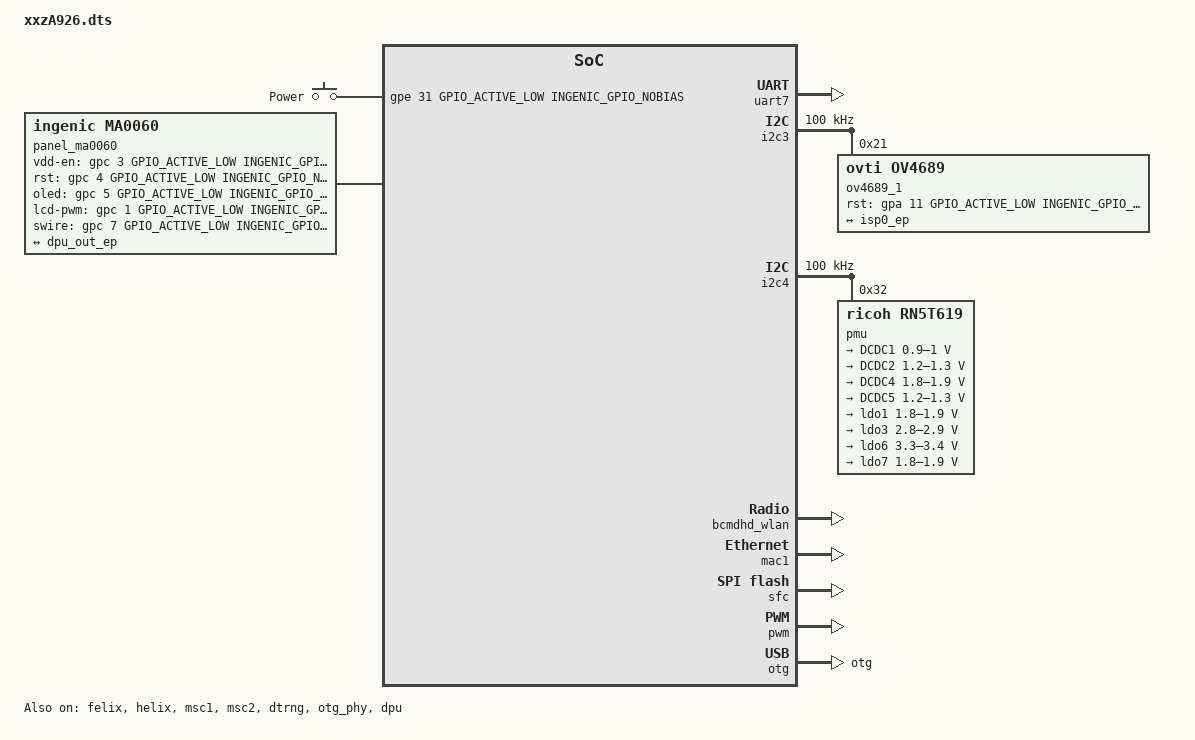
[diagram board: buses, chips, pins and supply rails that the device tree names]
/dts-v1/;

#include <dt-bindings/input/input.h>
#include "x2000-v12.dtsi"
#include <dt-bindings/interrupt-controller/irq.h>

/ {
	compatible = "ingenic,xxzA926", "ingenic,x2000-v12";
};

&uart0 {
	status = "disable";
};

&uart1 {
	status = "disable";
};

&uart2 {
	status = "disable";
};

&uart3 {
	status = "disable";
};

&uart4 {
	status = "disable";
};

&uart5 {
	status = "disable";
};

&uart6 {
	status = "disable";
};

&uart7 {
	status = "okay";
	pinctrl-names = "default";
	pinctrl-0 = <&uart7_pc>;
};

&cpufreq {
	status = "okay";
	operating-points = <
		/*KHZ uV */
		1200000	900000
		750000	900000
		600000	900000
		500000	900000
		400000	900000
		375000	900000
		300000	900000
		200000	900000
			>;

};
&as_be_baic {
	ingenic,baic23-interface-vol = <BAIC23_INTERFACE_VOL_1V8>;
};
&i2c0 {
	status = "disable";
	clock-frequency = <400000>;
	pinctrl-names = "default";
	pinctrl-0 = <&i2c0_pc>;

	focaltech@0x38{
		compatible = "focaltech,fts"; /* do not modify */
		reg = <0x38>; /* do not modify */
		interrupt-parent = <&gpc>; /* INT pin */
		interrupts = <9>;
		focaltech,reset-gpio = <&gpc 8 GPIO_ACTIVE_LOW INGENIC_GPIO_NOBIAS>; /* RST pin */
		focaltech,irq-gpio = <&gpc 9 IRQ_TYPE_EDGE_FALLING INGENIC_GPIO_NOBIAS>; /* INT pin */
		focaltech,max-touch-number = <5>;
		focaltech,display-coords = <0 0 1080 1920>;	/* resolution */

		/* key settings */
		focaltech,have-key;
		focaltech,key-number = <3>;
		focaltech,keys = <139 172 158>; /* key codes*/
		focaltech,key-x-coords = <200 600 800>; /* keys x coords */
		focaltech,key-y-coords = <2000 2000 2000>; /* keys y coords */

	};

};

&i2c1 {
	status = "disable";
	
};

&i2c3 {
	status = "okay";
	clock-frequency = <100000>;
	timeout = <1000>;
	pinctrl-names = "default";
	pinctrl-0 = <&i2c3_pa>;

	/*RD_X2000_HALLEY5_CAMERA_V2.0*/
	ov4689_1:ov4689@0x21 {
		status = "ok";
		compatible = "ovti,ov4689";
		reg = <0x21>;
		ingenic,iovcc_1v8;	/*if dvp voltage is 1.8v.?*/
		pinctrl-names = "default";
		pinctrl-0 = <&cim_vic_mclk_pe_24M>;

		ingenic,rst-gpio = <&gpa 11 GPIO_ACTIVE_LOW INGENIC_GPIO_NOBIAS>;

		port {
			ov4689_ep1:endpoint {
				remote-endpoint = <&isp0_ep>;
			};
		};
	};
};

&i2c4 {
	status = "okay";
	clock-frequency = <100000>;
	timeout = <1000>;
	pinctrl-names = "default";
	pinctrl-0 = <&i2c4_pc>;

	pmu: ricoh619@0x32{
		status = "okay";
		compatible = "ricoh,rn5t619";
		reg = <0x32>;
        ingenic,sdio-irq = <&gpc 27 IRQ_TYPE_EDGE_FALLING INGENIC_GPIO_NOBIAS>;

		regulators {
			DCDC1: dcdc1 {
				regulator-compatible = "DCDC1";
				regulator-name = "DC1_0v9";
				regulator-min-microvolt = <900000>;
				regulator-max-microvolt = <1000000>;
				regulator-boot-on;
                regulator-always-on;
			};
			DCDC2: dcdc2 {
				regulator-compatible = "DCDC2";
				regulator-name = "DC2_1v2";
				regulator-min-microvolt = <1200000>;
				regulator-max-microvolt = <1300000>;
				regulator-boot-on;
				regulator-always-on;
			};
			DCDC4: dcdc4 {
				regulator-compatible = "DCDC4";
				regulator-name = "DC4_1v8";
				regulator-min-microvolt = <1800000>;
				regulator-max-microvolt = <1900000>;
				regulator-boot-on;
				regulator-always-on;
			};
			DCDC5: dcdc5 {
				regulator-compatible = "DCDC5";
				regulator-name = "DC5_1v2";
				regulator-min-microvolt = <1200000>;
				regulator-max-microvolt = <1300000>;
				regulator-boot-on;
				regulator-always-on;
			};
			ldo1: ldo1 {
				regulator-compatible = "LDO1";
				regulator-name = "ldo1_1v8";
				regulator-min-microvolt = <1800000>;
				regulator-max-microvolt = <1900000>;
				regulator-boot-on;
				regulator-always-on;
			};
			ldo3: ldo3 {
				regulator-compatible = "LDO3";
				regulator-name = "ldo3_2v8";
				regulator-min-microvolt = <2800000>;
				regulator-max-microvolt = <2900000>;
				regulator-boot-on;
				regulator-always-on;
			};
			ldo6: ldo6 {
				regulator-compatible = "LDO6";
				regulator-name = "ldo6_3v3";
				regulator-min-microvolt = <3300000>;
				regulator-max-microvolt = <3400000>;
				regulator-boot-on;
				regulator-always-on;
			};
			ldo7: ldo7 {
				regulator-compatible = "LDO7";
				regulator-name = "ldo7_1v8";
				regulator-min-microvolt = <1800000>;
				regulator-max-microvolt = <1900000>;
				regulator-always-on;
			};
	    };
    };
};



&isp0_ep {
	remote-endpoint = <&ov4689_ep1>;
	data-lanes = <2>;
	clk-lanes = <1>;
};

&felix {
	status = "okay";
};

&helix {
	status = "okay";
};

&pdma {
	status = "okay";
};

&msc0 {
	status = "disable";
	/*mmc-hs200-1_8v;*/
	cap-mmc-highspeed;
	non-removable;
	max-frequency = <50000000>;
	bus-width = <4>;
	non-removable;
	voltage-ranges = <1800 3300>;

	/* special property */
	ingenic,wp-gpios = <0>;
	ingneic,cd-gpios = <0>;
	ingenic,rst-gpios = <0>;
};

&msc1 {
	status = "okay";
	pinctrl-names ="default","enable", "disable";
	pinctrl-0 = <&msc1_4bit>;
	pinctrl-1 = <&rtc32k_enable>;
	pinctrl-2 = <&rtc32k_disable>;

	max-frequency = <50000000>;
	bus-width = <4>;
	voltage-ranges = <1800 3300>;
	/*non-removable;*/

	ingenic,sdio_clk = <1>;
	keep-power-in-suspend;

	/* special property */
	ingenic,wp-gpios = <0>;
	ingneic,cd-gpios = <0>;
	ingenic,rst-gpios = <0>;
	ingenic,removal-manual; /*removal-dontcare, removal-nonremovable, removal-removable, removal-manual*/

	bcmdhd_wlan: bcmdhd_wlan {
		 compatible = "android,bcmdhd_wlan";
		 ingenic,sdio-irq = <&gpa 0 IRQ_TYPE_LEVEL_HIGH INGENIC_GPIO_NOBIAS>;
		 ingenic,sdio-reset = <&gpd 1 GPIO_ACTIVE_LOW INGENIC_GPIO_NOBIAS>;
	};
};

&msc2 {
	status = "okay";
	pinctrl-names ="default";
	pinctrl-0 = <&msc2_4bit>;
	/*mmc-hs200-1_8v;*/
	cap-mmc-highspeed;
	non-removable;
	max-frequency = <50000000>;
	bus-width = <4>;
	non-removable;
	voltage-ranges = <1800 3300>;

	/* special property */
	ingenic,wp-gpios = <0>;
	ingneic,cd-gpios = <0>;
	ingenic,rst-gpios = <0>;
};


&mac1 {
	pinctrl-names = "default", "reset";
	pinctrl-0 = <&mac1_rgmii_p0_normal>, <&mac1_rgmii_p1_normal>;
	pinctrl-1 = <&mac1_rgmii_p0_rst>, <&mac1_rgmii_p1_normal>;
	status = "okay";
	ingenic,rst-gpio = <&gpb 16 GPIO_ACTIVE_LOW INGENIC_GPIO_NOBIAS>;
	ingenic,rst-ms = <10>;
	ingenic,mac-mode = <RGMII>;
	ingenic,mode-reg = <0xb00000e8>;
	ingenic,rx-clk-delay = <0x0>;
	ingenic,tx-clk-delay = <0x3f>;
};

&sfc {
	status = "okay";
	pinctrl-names = "default";
	pinctrl-0 = <&sfc_pe>;
	ingenic,sfc-max-frequency = <320000000>;
	ingenic,use_board_info      = /bits/ 8 <0>;
	ingenic,spiflash_param_offset = <0>;


};

&dtrng {
	status = "okay";
};

&pwm {
	pinctrl-names = "default";
	pinctrl-0 = <&pwm0_pd>;
	status = "okay";
};

&otg {
	g-use-dma;
	dr_mode = "otg";
	status = "okay";
};

&otg_phy {
	dr_mode = "otg";
	compatible = "ingenic,innophy", "syscon";
	ingenic,drvvbus-gpio = <&gpe 22 GPIO_ACTIVE_HIGH INGENIC_GPIO_NOBIAS>;
	status = "okay";
};

&as_dmic {
	pinctrl-names = "default";
	pinctrl-0 = <&dmic_pc_4ch>;
};

&icodec {
	ingenic,spken-gpio = <&gpc 0 GPIO_ACTIVE_HIGH INGENIC_GPIO_NOBIAS>;
};

&dpu {
	status = "okay";
	port {
		dpu_out_ep: endpoint {
	/*		remote-endpoint = <&panel_ma0060_ep>;*/
	    };
	};
};


/ {

	extclk: extclk {
		clock-frequency = <24000000>;
	};

	gpio_keys: gpio_keys {
		   compatible = "gpio-keys";

		   power {
			   label = "Power";
			   linux,code = <KEY_POWER>;
			   gpios = <&gpe 31 GPIO_ACTIVE_LOW INGENIC_GPIO_NOBIAS>;
			   gpio-key,wakeup;
		   };
	   };
	sound {
		compatible = "ingenic,x2000-sound";
		ingenic,model = "halley5_v20";
	};

	display-dbi {
		compatible = "simple-bus";
		#interrupt-cells = <1>;
		#address-cells = <1>;
		#size-cells = <1>;
		ranges = <>;
		panel_ma0060 {
			compatible = "ingenic,ma0060";
			status = "okay";
			ingenic,vdd-en-gpio = <&gpc 3 GPIO_ACTIVE_LOW INGENIC_GPIO_NOBIAS>;
			ingenic,rst-gpio = <&gpc 4 GPIO_ACTIVE_LOW INGENIC_GPIO_NOBIAS>;
			ingenic,oled-gpio = <&gpc 5 GPIO_ACTIVE_LOW INGENIC_GPIO_NOBIAS>;
			ingenic,lcd-pwm-gpio = <&gpc 1 GPIO_ACTIVE_LOW INGENIC_GPIO_NOBIAS>;
			ingenic,swire-gpio = <&gpc 7 GPIO_ACTIVE_LOW INGENIC_GPIO_NOBIAS>;
			port {
				panel_ma0060_ep: endpoint {
					remote-endpoint = <&dpu_out_ep>;
				};
			};
		};
	};
};
